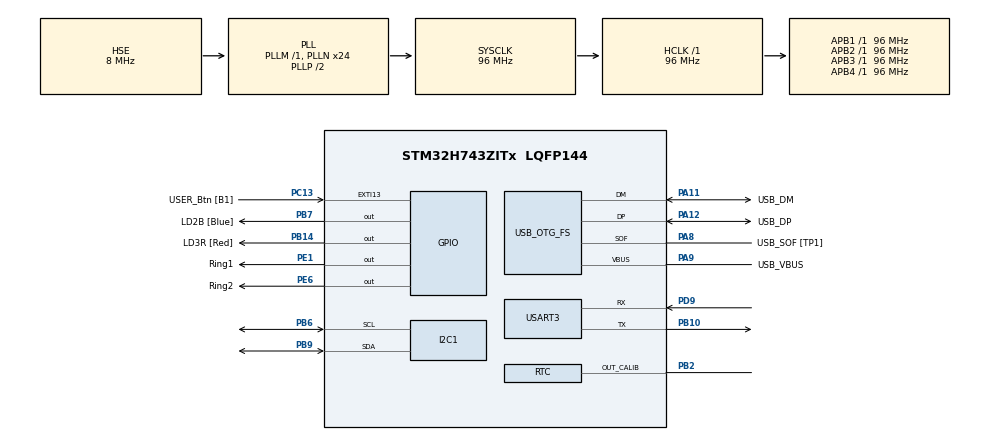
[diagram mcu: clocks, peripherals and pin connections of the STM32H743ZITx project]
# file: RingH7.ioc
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I2C1.Timing=0x10B0DCFB
Mcu.Family=STM32H7
Mcu.Name=STM32H743ZITx
Mcu.Package=LQFP144
NVIC.PriorityGroup=NVIC_PRIORITYGROUP_4
NVIC.USART3_IRQn=true\:0\:0\:false\:false\:true\:true\:true\:true
PA1.GPIO_Label=RMII_REF_CLK
PA1.Signal=ETH_REF_CLK
PA10.GPIO_Label=USB_ID
PA10.Signal=USB_OTG_FS_ID
PA11.GPIO_Label=USB_DM
PA11.Mode=Device_Only
PA11.Signal=USB_OTG_FS_DM
PA12.GPIO_Label=USB_DP
PA12.Mode=Device_Only
PA12.Signal=USB_OTG_FS_DP
PA2.GPIO_Label=RMII_MDIO
PA2.Signal=ETH_MDIO
PA7.GPIO_Label=RMII_CRS_DV
PA7.Signal=ETH_CRS_DV
PA8.GPIO_Label=USB_SOF [TP1]
PA8.Mode=Activate_SOF_FS
PA8.Signal=USB_OTG_FS_SOF
PA9.GPIO_Label=USB_VBUS
PA9.Mode=Activate_VBUS
PA9.Signal=USB_OTG_FS_VBUS
PB10.Mode=Asynchronous
PB10.Signal=USART3_TX
PB13.GPIO_Label=RMII_TXD1
PB13.Signal=ETH_TXD1
PB14.GPIO_Label=LD3R [Red]
PB14.Signal=GPIO_Output
PB2.Mode=Calibration_1Hz
PB2.Signal=RTC_OUT_CALIB
PB6.Mode=I2C
PB6.Signal=I2C1_SCL
PB7.GPIO_Label=LD2B [Blue]
PB7.Signal=GPIO_Output
PB9.Mode=I2C
PB9.Signal=I2C1_SDA
PC1.GPIO_Label=RMII_MDC
PC1.Signal=ETH_MDC
PC13.GPIO_Label=USER_Btn [B1]
PC13.Signal=GPXTI13
PC14-OSC32_IN\ (OSC32_IN).Mode=LSE-External-Oscillator
PC14-OSC32_IN\ (OSC32_IN).Signal=RCC_OSC32_IN
PC15-OSC32_OUT\ (OSC32_OUT).Mode=LSE-External-Oscillator
PC15-OSC32_OUT\ (OSC32_OUT).Signal=RCC_OSC32_OUT
PC4.GPIO_Label=RMII_RXD0
PC4.Signal=ETH_RXD0
PC5.GPIO_Label=RMII_RXD1
PC5.Signal=ETH_RXD1
PD9.GPIO_ModeDefaultPP=GPIO_MODE_AF_PP
PD9.GPIO_PuPd=GPIO_NOPULL
PD9.GPIO_Speed=GPIO_SPEED_FREQ_LOW
PD9.Mode=Asynchronous
PD9.Signal=USART3_RX
PE1.GPIO_Label=Ring1
PE1.GPIO_ModeDefaultOutputPP=GPIO_MODE_OUTPUT_PP
PE1.GPIO_PuPd=GPIO_NOPULL
PE1.PinState=GPIO_PIN_SET
PE1.Signal=GPIO_Output
PE6.GPIO_Label=Ring2
PE6.GPIO_ModeDefaultOutputPP=GPIO_MODE_OUTPUT_PP
PE6.GPIO_PuPd=GPIO_NOPULL
PE6.PinState=GPIO_PIN_SET
PE6.Signal=GPIO_Output
PG11.GPIO_Label=RMII_TX_EN
PG11.Signal=ETH_TX_EN
PG13.GPIO_Label=RMII_TXD0
PG13.Signal=ETH_TXD0
PH0-OSC_IN\ (PH0).GPIO_Label=MCO
PH0-OSC_IN\ (PH0).Mode=HSE-External-Clock-Source
PH0-OSC_IN\ (PH0).Signal=RCC_OSC_IN
PH1-OSC_OUT\ (PH1).Signal=RCC_OSC_OUT
ProjectManager.HeapSize=0x2000
ProjectManager.StackSize=0x4000
ProjectManager.TargetToolchain=MDK-ARM V5
RCC.48MHZClocksFreq_Value=24000000
RCC.ADCFreq_Value=16125000
RCC.AHBFreq_Value=216000000
RCC.APB1CLKDivider=RCC_HCLK_DIV4
RCC.APB1Freq_Value=96000000
RCC.APB1TimFreq_Value=108000000
RCC.APB2CLKDivider=RCC_HCLK_DIV2
RCC.APB2Freq_Value=96000000
RCC.APB2TimFreq_Value=216000000
RCC.APB3Freq_Value=96000000
RCC.APB4Freq_Value=96000000
RCC.CortexFreq_Value=96000000
RCC.DIVM1=1
RCC.DIVN1=24
RCC.DIVQ1=4
RCC.HCLKFreq_Value=96000000
RCC.HSE_VALUE=8000000
RCC.HSI_VALUE=64000000
RCC.PLLM=25
RCC.PLLMUL=RCC_PLL_MUL9
RCC.PLLN=432
RCC.PLLQ=9
RCC.PRESCALERUSB=RCC_USBCLKSOURCE_PLL_DIV1_5
RCC.PWR_Regulator_Voltage_Scale=PWR_REGULATOR_VOLTAGE_SCALE1
RCC.SYSCLKFreq_VALUE=96000000
RCC.SYSCLKSource=RCC_SYSCLKSOURCE_PLLCLK
RCC.SYSCLKSourceVirtual=RCC_SYSCLKSOURCE_PLLCLK
RCC.USBFreq_Value=48000000
RCC.VCOOutputFreq_Value=432000000
USART3.VirtualMode-Asynchronous=VM_ASYNC
USB_OTG_FS.VirtualMode=Device_Only
VP_RTC_VS_RTC_Activate.Mode=RTC_Enabled
VP_RTC_VS_RTC_Calendar.Mode=RTC_Calendar
board=NUCLEO-H743ZI

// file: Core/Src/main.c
/* USER CODE BEGIN Header */
/**
  ******************************************************************************
  * @file           : main.c
  * @brief          : Main program body
  ******************************************************************************
  * @attention
  *
  * Copyright (c) 2022 STMicroelectronics.
  * All rights reserved.
  *
  * This software is licensed under terms that can be found in the LICENSE file
  * in the root directory of this software component.
  * If no LICENSE file comes with this software, it is provided AS-IS.
  *
  ******************************************************************************
  */
/* USER CODE END Header */
#include "main.h"

/* USER CODE BEGIN Includes */

#include "stdlib.h"
#include "string.h"

#include "crc32.h"

#include "Ring_prot.h"

#include "rdefUART.h"

#include "Ring.h"

#include "Schedlib.h"

#ifdef USE_DS3231
   #include "ds3231_for_stm32_hal.h"
#endif

/* USER CODE END Includes */

I2C_HandleTypeDef hi2c1;

RTC_HandleTypeDef hrtc;

UART_HandleTypeDef huart3;

PCD_HandleTypeDef hpcd_USB_OTG_FS;

/* USER CODE BEGIN PV */

__IO ITStatus UartReady; // volatile enum { SET, RESET }

T_WorkState WorkMode;
T_IOState IOState;

T_RINGState RingState;

T_RingIO_Head RMessHead;  // recieve header
T_RingIO_Head KvHead;
T_RingIO_SchData cod_sched_info, kvcod_sched_info;
T_RingIO_BlockInfo RingBlockInfo, kvRingBlockInfo, kvEndBlockInfo;
T_RingIO_Status RingStatus, PCSyncTime, kvPCSyncTime;

uint8_t answer_index;

uint8_t* Schedule;
uint8_t buf_head;
uint8_t io_buf[IO_BLOCK_SIZE];

uint16_t block_size, number_block;
uint32_t block_crc32, get_crc32;

uint8_t busy_time;
uint32_t schedule_size, schedule_crc32;
uint32_t * schedule_addr;
uint32_t * schedule_size_addr;

uint8_t today_day;

uint8_t link_time;
RTC_TimeTypeDef NowTime;
RTC_DateTypeDef NowDate;
uint16_t NowYear;
RTC_TimeTypeDef PCTime;
RTC_DateTypeDef PCDate;

T_EventList  BaseEventList, TodayEventList;

/* USER CODE END PV */

void SystemClock_Config(void);
static void MX_GPIO_Init(void);
static void MX_USART3_UART_Init(void);
static void MX_USB_OTG_FS_PCD_Init(void);
static void MX_RTC_Init(void);
static void MX_I2C1_Init(void);

int main(void)
{
  /* USER CODE BEGIN 1 */

	HAL_StatusTypeDef io_result;

	uint16_t ui_flag = 0;
  uint8_t ui8_buf;
	uint32_t ui32_buf;

  /* USER CODE END 1 */

  /* MCU Configuration--------------------------------------------------------*/

  /* Reset of all peripherals, Initializes the Flash interface and the Systick. */
  HAL_Init();

  /* USER CODE BEGIN Init */

	UartReady = RESET;

	WorkMode = SETUP;
  IOState = IO_CHECK;

	SetIdleData(&KvHead, sizeof(KvHead));
	RingInitHead(&RMessHead,RING_IDLE_DATA);
	InitBlockInfo(&kvRingBlockInfo,0,0,0);
	InitExchSchedCom(&kvcod_sched_info, 0, 0);
	InitRingEndSched(&kvEndBlockInfo, 0, 0, 0);

	Schedule = NULL;
  schedule_size = 0;
	schedule_crc32 = CRC32((unsigned char*)&schedule_size, 4);

	schedule_addr = (uint32_t *)SCHEDULE_DATA_ADDR;
	schedule_size_addr = (uint32_t *)SCHEDULE_SIZE_ADDR;

	busy_time = 0;

	today_day = 0xFF; // more then 31

	RingState.el.RTC_EMB_State = RTC_NO;
	RingState.el.RTC_DS_State = RTC_NO;
	RingState.el.SchedFile = SCHED_NO;
	RingState.el.ready = RING_SETUP;

	EventList_init(&BaseEventList);
	EventList_init(&TodayEventList);

  /* USER CODE END Init */

  /* Configure the system clock */
  SystemClock_Config();

  /* Initialize all configured peripherals */
  MX_GPIO_Init();
  MX_USART3_UART_Init();
  MX_USB_OTG_FS_PCD_Init();
  MX_RTC_Init();
  MX_I2C1_Init();
  /* USER CODE BEGIN 2 */

#ifdef USE_DS3231
  DS3231_Init(&hi2c1);
#endif

  io_result = HAL_UART_Receive_IT(&huart3, (uint8_t *)&RMessHead, sizeof(RMessHead));

#ifdef MY_DEBUG
  if (io_result == HAL_OK)
	{
		HAL_GPIO_WritePin(GPIOB, LD2B_Pin, GPIO_PIN_SET); // UART OK
	}
	else
	{
		HAL_GPIO_WritePin(GPIOB, LD3R_Pin, GPIO_PIN_SET); // UART ???
	}

	HAL_Delay(1000);
	HAL_GPIO_WritePin(GPIOB, LD2B_Pin|LD3R_Pin, GPIO_PIN_RESET);
#endif

  /* USER CODE END 2 */

  /* Infinite loop */
  /* USER CODE BEGIN WHILE */
  while (1)
  {
#ifdef USE_DS3231
   if(WorkMode == AUTOWORK)
   {
		 if(RingState.el.RTC_DS_State == RTC_OK)
		 {
		 	 NowTime.Hours = DS3231_GetHour();
		   NowTime.Minutes = DS3231_GetMinute();
			 NowTime.Seconds = DS3231_GetSecond();
			 NowDate.Date = DS3231_GetDate();
			 NowDate.Month = DS3231_GetMonth();
			 NowYear = DS3231_GetYear();
			 NowDate.Year = NowYear % 100;
			 NowDate.WeekDay = DS3231_GetDayOfWeek();
	   }
	 }

#endif
		if(WorkMode != AUTOWORK)
		{
			HAL_RTC_GetDate(&hrtc, &NowDate, RTC_FORMAT_BIN);
			HAL_RTC_GetTime(&hrtc, &NowTime, RTC_FORMAT_BIN);
		}

		if(WorkMode == SETUP)
		{
			// define RTC	status
			if(RingState.el.RTC_EMB_State == RTC_NO) // start
			{
				if(NowDate.Year == 0) RingState.el.RTC_EMB_State = RTC_RESET;
								         else	RingState.el.RTC_EMB_State = RTC_OK;
			}

#ifdef USE_DS3231
				if(RingState.el.RTC_DS_State == RTC_NO)
				{
					io_result = HAL_I2C_Master_Transmit(&hi2c1, DS3231_I2C_ADDR << 1, 0, 1, 1000);
					io_result = HAL_I2C_Master_Receive(&hi2c1, DS3231_I2C_ADDR << 1, &ui8_buf, 1, 1000);

					if(io_result == HAL_OK)
					{
						if(DS3231_GetYear() == 2000) RingState.el.RTC_DS_State = RTC_RESET;
						                				else RingState.el.RTC_DS_State = RTC_OK;
				  }
				}
#endif

#ifdef USE_DS3231
			// sync with RTC DS3231
			if(  RingState.el.RTC_DS_State == RTC_OK
				 &&RingState.el.RTC_EMB_State == RTC_RESET	)
			{
				NowTime.Seconds = DS3231_GetSecond();
				ui8_buf = DS3231_GetSecond();
				while(ui8_buf == NowTime.Seconds)
				{
				  NowTime.Seconds = DS3231_GetSecond();
				}

				NowTime.Hours = DS3231_GetHour();
				NowTime.Minutes = DS3231_GetMinute();
				HAL_RTC_SetTime(&hrtc, &NowTime, RTC_FORMAT_BIN);

				NowDate.Date = DS3231_GetDate();
				NowDate.Month = DS3231_GetMonth();
				NowYear = DS3231_GetYear();
				NowDate.Year = NowYear % 100;
				NowDate.WeekDay = DS3231_GetDayOfWeek();
				HAL_RTC_SetDate(&hrtc, &NowDate, RTC_FORMAT_BIN);
				RingState.el.RTC_EMB_State = RTC_OK;
			}

			//sync RTC DS3231 with PC
			if(  RingState.el.RTC_DS_State == RTC_RESET
				 &&RingState.el.RTC_EMB_State == RTC_OK	)
			{
				HAL_RTC_GetDate(&hrtc, &NowDate, RTC_FORMAT_BIN);
				HAL_RTC_GetTime(&hrtc, &NowTime, RTC_FORMAT_BIN);
				ui8_buf = NowTime.Seconds;
				while(ui8_buf == NowTime.Seconds)
				{
					HAL_RTC_GetDate(&hrtc, &NowDate, RTC_FORMAT_BIN);
					HAL_RTC_GetTime(&hrtc, &NowTime, RTC_FORMAT_BIN);
				}

				DS3231_SetSecond(NowTime.Seconds);
				DS3231_SetMinute(NowTime.Minutes);
				DS3231_SetHour(NowTime.Hours);
				DS3231_SetDate(NowDate.Date);
				DS3231_SetMonth(NowDate.Month);
				NowYear = NowYear - (NowYear % 100) + NowDate.Year;
				DS3231_SetYear(NowYear);
				DS3231_SetDayOfWeek(NowDate.WeekDay);
				RingState.el.RTC_DS_State = RTC_OK;
			}
#endif

		  if(RingState.el.RTC_EMB_State == RTC_OK)
			{
				today_day = NowDate.Date; // for check of new day's begining
			}

			if(	RingState.el.SchedFile == SCHED_NO)
			{
				//try to find file on Flash
				HAL_FLASH_Unlock();

				// parse

				HAL_FLASH_Lock();
			}

			if(RingState.el.SchedFile == SCHED_RAM)
			{
				// parse
				ui32_buf = EventList_ReadMem((char*)Schedule, schedule_size, &BaseEventList);

				if(ui32_buf == EL_RES_OK)
				{

					ui32_buf = MakeTodaySchedule(&BaseEventList, s_Date* in_date,
					                             &TodayEventList, bool* out_holyday);

					RingState.el.SchedFile = SCHED_ON;
				}
				else
				{
					RingState.el.SchedFile = SCHED_ERR;
				}

				// save to Flash

			}

			// read parameters

			if(RingState.el.ready == RING_SETUP)
			{
				if(   RingState.el.RTC_EMB_State == RTC_OK
					 && RingState.el.SchedFile == SCHED_ON
					)
				{
					WorkMode = AUTOWORK;

					RingState.el.ready = RING_READY;   // setup done
				}
			}

			IOState = IO_CHECK;
		}	// SETUP
//====================================================

		if(WorkMode == AUTOWORK)
		{
#ifdef MY_DEBUG
//		HAL_GPIO_WritePin(GPIOB, LD2B_Pin, GPIO_PIN_SET);
//		HAL_GPIO_WritePin(GPIOB, LD3R_Pin, GPIO_PIN_RESET);
#endif

			if(today_day != NowDate.Date || RingState.el.ready != RING_READY)
			{
				WorkMode = SETUP;  // check out for new day's begining or setup wasn't finished
			}
			else
			{

			// check events

			}

	  }
//================================================================

		if(IOState == IO_CHECK) //only in free state - not in GET_DATA_BLOCK
		{
#ifdef MY_DEBUG
 // 	HAL_GPIO_WritePin(GPIOB, LD3R_Pin, GPIO_PIN_SET);
#endif
			if(UartReady == SET)
			{
#ifdef MY_DEBUG
		HAL_GPIO_WritePin(GPIOB, LD2B_Pin, GPIO_PIN_SET);
#endif

				if(RMessHead.name == RING_PROT_NAME)
			  {
	  			WorkMode = REM_CONTROL;
	  			IOState = GET_COMMAND;

					link_time = NowTime.Seconds + NowTime.Minutes * 100;
  			}
  			else
  			{
  				memcpy(&KvHead, &RMessHead, sizeof(KvHead));

  				// get trash
  				HAL_UART_Transmit_IT(&huart3, (uint8_t *)&KvHead, sizeof(KvHead)); // send it back
  				while(io_result != HAL_TIMEOUT)
  				{
  					io_result = HAL_UART_Receive(&huart3, &busy_time, 1, 1);
  					HAL_UART_Transmit_IT(&huart3, &busy_time, 1); // send it back
  				}

  				UartReady = RESET;
  				memset(&RMessHead,0,sizeof(RMessHead));
  				io_result = HAL_UART_Receive_IT(&huart3, (uint8_t *)&RMessHead, sizeof(RMessHead)); // set waiting new data
  			}
			}
		}//IO_CHECK
//=================================================================

		if(WorkMode == REM_CONTROL)
		{
			// check timeout for remote control mode
			if(   IOState == IO_CHECK
				 && RingState.el.ready == RING_READY
				)
			{
				// check out no link for period 1,5 minute
				busy_time = NowTime.Seconds + NowTime.Minutes * 100;
				if(busy_time > link_time)
				{
					if((busy_time - link_time) >= REMOTE_CONTROL_TIMEOUT) WorkMode = AUTOWORK;
				}
				else
				if(busy_time < link_time)
				{
					if((busy_time + 6000 - link_time) >= REMOTE_CONTROL_TIMEOUT) WorkMode = AUTOWORK;
				}

			}

			if(IOState == GET_COMMAND)
			{
#ifdef MY_DEBUG
		HAL_GPIO_WritePin(GPIOB, LD3R_Pin, GPIO_PIN_SET);
#endif
				switch (RMessHead.index)
				{
					case RING_GET_STATE:
					{
						InitRingState(&RingStatus, RingState.all, NowTime.Hours, NowTime.Minutes, NowTime.Seconds);
						answer_index = RING_GET_STATE;
						IOState = ANSWER;
						break;
					}

					case RING_SET_AUTOWORK:
					{
						WorkMode = AUTOWORK;

						RingInitHead(&KvHead, RING_SET_AUTOWORK);
						answer_index = RMessHead.index;
						IOState = ANSWER;
						break;
					}
					case RING_SET_RING: // on rele 1
					{
						HAL_GPIO_WritePin(GPIOE, Ring1_Pin, GPIO_PIN_RESET);
#ifdef MY_DEBUG
//	HAL_GPIO_WritePin(GPIOB, LD2B_Pin, GPIO_PIN_SET);
//	HAL_Delay(1000);
#endif

						RingInitHead(&KvHead, RING_SET_RING);
						answer_index = RMessHead.index;
						IOState = ANSWER;
						break;
					}
					case RING_RESET_RING: // off rele 1
					{
						HAL_GPIO_WritePin(GPIOE, Ring1_Pin, GPIO_PIN_SET);
#ifdef MY_DEBUG
//	HAL_GPIO_WritePin(GPIOB, LD2B_Pin, GPIO_PIN_RESET);
#endif

						RingInitHead(&KvHead, RING_RESET_RING);
						answer_index = RMessHead.index;
						IOState = ANSWER;
						break;
					}
					case RING_SET_BOOST: // on rele 2
				  {
						HAL_GPIO_WritePin(GPIOE, Ring2_Pin, GPIO_PIN_RESET);
#ifdef MY_DEBUG
//	HAL_GPIO_WritePin(GPIOB, LD3R_Pin, GPIO_PIN_SET);
//	HAL_Delay(1000);
#endif
						RingInitHead(&KvHead, RING_SET_BOOST);
						answer_index = RING_SET_BOOST;
						IOState = ANSWER;
						break;
					}
					case RING_RESET_BOOST: // off rele 2
					{
						HAL_GPIO_WritePin(GPIOE, Ring2_Pin, GPIO_PIN_SET);
#ifdef MY_DEBUG
//	HAL_GPIO_WritePin(GPIOB, LD3R_Pin, GPIO_PIN_RESET);
#endif

						RingInitHead(&KvHead, RING_RESET_BOOST);
						answer_index = RING_RESET_BOOST;
						IOState = ANSWER;
						break;
					}
					case RING_GET_SCHEDULE:
					{
						io_result = HAL_UART_Receive(&huart3, (uint8_t*)&cod_sched_info.data, sizeof(cod_sched_info.data), 0xFFF);

						if(io_result == HAL_OK)
						{
							/// save schedule file crc32
							schedule_crc32 = cod_sched_info.data.crc32;

							// save schedule file size
							schedule_size = cod_sched_info.data.size;

							if(Schedule != NULL) free(Schedule);
							if( (Schedule = malloc(schedule_size)) == NULL ) SetRingError(&kvcod_sched_info.head);

							kvcod_sched_info.head.index = RING_GET_SCHEDULE;
							kvcod_sched_info.data = cod_sched_info.data;
						}
						else
						{
							SetRingError(&kvcod_sched_info.head);
						}

						answer_index = RING_GET_SCHEDULE;
						IOState = ANSWER;

						break;
					}
					case RING_GET_BLOCK:  // Get Schedule by blocks
					{
						io_result = HAL_UART_Receive(&huart3, (uint8_t*)&RingBlockInfo.data, sizeof(RingBlockInfo.data), 0xFFF);

						if(io_result == HAL_OK)
						{
							number_block = RingBlockInfo.data.number;
							block_size = RingBlockInfo.data.size;
							block_crc32 = RingBlockInfo.data.crc32;

							kvRingBlockInfo.head.index = RING_GET_BLOCK;
							kvRingBlockInfo.data = RingBlockInfo.data;
						}
						else
						{
		  		    SetRingError(&kvRingBlockInfo.head);
							block_size = 0;
						}

						answer_index = RING_GET_BLOCK;
						IOState = ANSWER;

						break;
					}

					case RING_END_BLOCK:  // end transmit Schedule by blocks
					{
						io_result = HAL_UART_Receive(&huart3, (uint8_t*)&RingBlockInfo.data, sizeof(RingBlockInfo.data), 0xFFF);

#ifdef MY_DEBUG
//    HAL_GPIO_WritePin(GPIOE, Ring1_Pin, GPIO_PIN_RESET);
#endif
						if(io_result == HAL_OK)
						{
							get_crc32 = CRC32(Schedule, schedule_size);

							kvEndBlockInfo.head.index = RING_END_BLOCK;
							kvEndBlockInfo.data.size = schedule_size;
							kvEndBlockInfo.data.crc32 = get_crc32;

#ifdef MY_DEBUG
 //   HAL_GPIO_WritePin(GPIOE, Ring2_Pin, GPIO_PIN_RESET);
#endif

							if(get_crc32 == schedule_crc32)
							{
								RingState.el.SchedFile = SCHED_RAM;
								WorkMode = SETUP; // go to parse
							}
						}
						else
						{
						  SetRingError(&kvEndBlockInfo.head);
						}

						answer_index = RING_END_BLOCK;
						IOState = ANSWER;

						break;
					}
					case RING_ON_TRANSFER:
					{
						InitRingTransfer(&RingStatus, 0xA, 0xB, 0xC, 0xD);
						WorkMode = TRANSIT_DATA;

						busy_time = NowTime.Seconds;

						answer_index = RING_ON_TRANSFER;
						IOState = ANSWER;
						break;
					}
					case RING_SYNC_TIME:
					{
						io_result = HAL_UART_Receive(&huart3, (uint8_t*)&PCSyncTime.data, sizeof(PCSyncTime.data), 0xFFF);

#ifdef MY_DEBUG
//	  HAL_GPIO_WritePin(GPIOB, LD3R_Pin, GPIO_PIN_SET);
#endif
						if(io_result == HAL_OK)
						{
							if(PCSyncTime.data.data1 == 0) // sync seconds
							{
								PCTime.Seconds	= PCSyncTime.data.data4;
								InitRingSyncTime(&kvPCSyncTime, 0, 0, 0, PCTime.Seconds);
							}
							else
							if(PCSyncTime.data.data1 == 1) // sync time
							{
								PCTime.Hours = PCSyncTime.data.data2;
								PCTime.Minutes = PCSyncTime.data.data3;
								PCDate.WeekDay = PCSyncTime.data.data4;

								HAL_RTC_SetTime(&hrtc, &PCTime, RTC_FORMAT_BIN);

								InitRingSyncTime(&kvPCSyncTime, PCTime.Hours, PCTime.Minutes, PCTime.Seconds, PCDate.WeekDay);
						  }
							else
							if(PCSyncTime.data.data1 == 2) // sync date
							{
								NowYear = PCSyncTime.data.data2;
								PCDate.Year = NowYear % 100;
								PCDate.Month = PCSyncTime.data.data3;
								PCDate.Date = PCSyncTime.data.data4;

								HAL_RTC_SetDate(&hrtc, &PCDate, RTC_FORMAT_BIN);

								InitRingSyncTime(&kvPCSyncTime, PCDate.Year, PCDate.Month, PCDate.Date, PCDate.WeekDay);

								RingState.el.RTC_EMB_State = RTC_OK;
								if(RingState.el.RTC_DS_State == RTC_OK) RingState.el.RTC_DS_State = RTC_RESET;

								WorkMode = SETUP;
							}

						answer_index = RING_SYNC_TIME;
						IOState = ANSWER;

						}
						else
						{
		  		    SetRingError(&kvPCSyncTime.head);
							answer_index = RING_SYNC_TIME;
							IOState = ANSWER;
						}

						break;
					}

				}//switch
			}//IOState Command mode
//======================================================================

		  if(IOState == ANSWER)
			{
				switch (answer_index)
				{
					case RING_SET_AUTOWORK:
					case RING_SET_RING:
					case RING_RESET_RING:
					case RING_SET_BOOST:
					case RING_RESET_BOOST:
					{
						HAL_UART_Transmit_IT(&huart3, (uint8_t *)&KvHead, sizeof(KvHead)); // send it back
						break;
					}
					case RING_GET_SCHEDULE:
					{
						HAL_UART_Transmit_IT(&huart3, (uint8_t *)&kvcod_sched_info, sizeof(kvcod_sched_info)); // send it back
						break;
					}
					case RING_GET_BLOCK:
					{
						HAL_UART_Transmit_IT(&huart3, (uint8_t *)&kvRingBlockInfo, sizeof(kvRingBlockInfo)); // send it back

						if(block_size > 0)
						{
							IOState = GET_DATA_BLOCK;

							UartReady = RESET;
							io_result = HAL_UART_Receive_IT(&huart3, &buf_head, 1); // set waiting new data
						}

						break;
					}
					case RING_KV_BLOCK:
					{
						HAL_UART_Transmit_IT(&huart3, (uint8_t *)&kvRingBlockInfo, sizeof(kvRingBlockInfo)); // send it back
						break;
					}
					case RING_END_BLOCK:
					{
						HAL_UART_Transmit_IT(&huart3, (uint8_t *)&kvEndBlockInfo, sizeof(kvEndBlockInfo)); // send it back
						break;
					}
					case RING_ON_TRANSFER:
					case RING_GET_STATE:
					{
						HAL_UART_Transmit_IT(&huart3, (uint8_t *)&RingStatus, sizeof(RingStatus)); // send it back
						break;
					}
					case RING_SYNC_TIME:
					{
						HAL_UART_Transmit_IT(&huart3, (uint8_t *)&kvPCSyncTime, sizeof(kvPCSyncTime)); // send it back
						break;
					}
				}// switch

				if(IOState == ANSWER)
				{
#ifdef MY_DEBUG
	  HAL_GPIO_WritePin(GPIOB, LD2B_Pin|LD3R_Pin, GPIO_PIN_RESET);
#endif
					UartReady = RESET;
					memset(&RMessHead,0,sizeof(RMessHead));
					io_result = HAL_UART_Receive_IT(&huart3, (uint8_t *)&RMessHead, sizeof(RMessHead)); // set waiting new data

					IOState = IO_CHECK;
					answer_index = RING_IDLE_DATA;
				}
			}// ANSWER
//=======================================================================

		  if(IOState == GET_DATA_BLOCK)
			{
				// checkout control line
				if(UartReady == SET) // we got something from UART
				{
					io_result = HAL_UART_Receive(&huart3, &io_buf[1], block_size-1, 0xFFF);

					if(io_result == HAL_OK)
					{
						io_buf[0] = buf_head;

						get_crc32 = CRC32((unsigned char*)&io_buf, block_size);

						InitBlockInfo(&kvRingBlockInfo, number_block, block_size, get_crc32);

						if(get_crc32 == block_crc32)
						{
							if(   ((IO_BLOCK_SIZE*(number_block-1)) <= schedule_size)
								 && (number_block > 0)
								)
							{
								memcpy((Schedule + (IO_BLOCK_SIZE*(number_block-1))), io_buf, block_size);
							}
						}
						else
						{
							SetRingError(&kvRingBlockInfo.head);
						}
					}
					else
					{
						InitBlockInfo(&kvRingBlockInfo,number_block , 0, 0);
						SetRingError(&kvRingBlockInfo.head);
					}

					answer_index = RING_KV_BLOCK;
					IOState = ANSWER;

				}// if got UART
			}//GET_DATA_BLOCK

	  }// WorkMode = REM_CONTROL
//======================================================================

		if(WorkMode == TRANSIT_DATA)
		{
			if(busy_time != NowTime.Seconds)
			{

				if(ui_flag == 0)
				{
				  InitRingTransfer(&RingStatus, 0xA, NowTime.Hours, NowTime.Minutes, NowTime.Seconds);
					ui_flag = 1;
				}
				else
				{
#ifdef USE_DS3231
					InitRingTransfer(&RingStatus, 0xB, DS3231_GetHour(), DS3231_GetMinute(), DS3231_GetSecond());
#else
					InitRingTransfer(&RingStatus, 0xA, NowTime.Hours, NowTime.Minutes, NowTime.Seconds);
#endif
					ui_flag = 0;
				}

				HAL_UART_Transmit_IT(&huart3, (uint8_t *)&RingStatus, sizeof(RingStatus)); // send it back

				busy_time = NowTime.Seconds;
			}

		}// TRANSIT_DATA
//======================================================================

    /* USER CODE END WHILE */

    /* USER CODE BEGIN 3 */
#ifdef MY_DEBUG
//		HAL_Delay(1000);
//	  HAL_GPIO_WritePin(GPIOB, LD2B_Pin|LD3R_Pin, GPIO_PIN_RESET);
//		HAL_Delay(200);
//	  HAL_GPIO_WritePin(GPIOB, LD2B_Pin, GPIO_PIN_RESET);
#endif
  }
  /* USER CODE END 3 */
}

void SystemClock_Config(void)
{
  RCC_OscInitTypeDef RCC_OscInitStruct = {0};
  RCC_ClkInitTypeDef RCC_ClkInitStruct = {0};

  /** Supply configuration update enable
  */
  HAL_PWREx_ConfigSupply(PWR_LDO_SUPPLY);

  /** Configure the main internal regulator output voltage
  */
  __HAL_PWR_VOLTAGESCALING_CONFIG(PWR_REGULATOR_VOLTAGE_SCALE1);

  while(!__HAL_PWR_GET_FLAG(PWR_FLAG_VOSRDY)) {}

  /** Initializes the RCC Oscillators according to the specified parameters
  * in the RCC_OscInitTypeDef structure.
  */
  RCC_OscInitStruct.OscillatorType = RCC_OSCILLATORTYPE_LSI|RCC_OSCILLATORTYPE_HSE;
  RCC_OscInitStruct.HSEState = RCC_HSE_BYPASS;
  RCC_OscInitStruct.LSIState = RCC_LSI_ON;
  RCC_OscInitStruct.PLL.PLLState = RCC_PLL_ON;
  RCC_OscInitStruct.PLL.PLLSource = RCC_PLLSOURCE_HSE;
  RCC_OscInitStruct.PLL.PLLM = 1;
  RCC_OscInitStruct.PLL.PLLN = 24;
  RCC_OscInitStruct.PLL.PLLP = 2;
  RCC_OscInitStruct.PLL.PLLQ = 4;
  RCC_OscInitStruct.PLL.PLLR = 2;
  RCC_OscInitStruct.PLL.PLLRGE = RCC_PLL1VCIRANGE_3;
  RCC_OscInitStruct.PLL.PLLVCOSEL = RCC_PLL1VCOWIDE;
  RCC_OscInitStruct.PLL.PLLFRACN = 0;
  if (HAL_RCC_OscConfig(&RCC_OscInitStruct) != HAL_OK)
  {
    Error_Handler();
  }

  /** Initializes the CPU, AHB and APB buses clocks
  */
  RCC_ClkInitStruct.ClockType = RCC_CLOCKTYPE_HCLK|RCC_CLOCKTYPE_SYSCLK
                              |RCC_CLOCKTYPE_PCLK1|RCC_CLOCKTYPE_PCLK2
                              |RCC_CLOCKTYPE_D3PCLK1|RCC_CLOCKTYPE_D1PCLK1;
  RCC_ClkInitStruct.SYSCLKSource = RCC_SYSCLKSOURCE_PLLCLK;
  RCC_ClkInitStruct.SYSCLKDivider = RCC_SYSCLK_DIV1;
  RCC_ClkInitStruct.AHBCLKDivider = RCC_HCLK_DIV1;
  RCC_ClkInitStruct.APB3CLKDivider = RCC_APB3_DIV1;
  RCC_ClkInitStruct.APB1CLKDivider = RCC_APB1_DIV1;
  RCC_ClkInitStruct.APB2CLKDivider = RCC_APB2_DIV1;
  RCC_ClkInitStruct.APB4CLKDivider = RCC_APB4_DIV1;

  if (HAL_RCC_ClockConfig(&RCC_ClkInitStruct, FLASH_LATENCY_1) != HAL_OK)
  {
    Error_Handler();
  }
}

static void MX_I2C1_Init(void)
{

  hi2c1.Instance = I2C1;
  hi2c1.Init.Timing = 0x10B0DCFB;
  hi2c1.Init.OwnAddress1 = 0;
  hi2c1.Init.AddressingMode = I2C_ADDRESSINGMODE_7BIT;
  hi2c1.Init.DualAddressMode = I2C_DUALADDRESS_DISABLE;
  hi2c1.Init.OwnAddress2 = 0;
  hi2c1.Init.OwnAddress2Masks = I2C_OA2_NOMASK;
  hi2c1.Init.GeneralCallMode = I2C_GENERALCALL_DISABLE;
  hi2c1.Init.NoStretchMode = I2C_NOSTRETCH_DISABLE;
  if (HAL_I2C_Init(&hi2c1) != HAL_OK)
  {
    Error_Handler();
  }

  /** Configure Analogue filter
  */
  if (HAL_I2CEx_ConfigAnalogFilter(&hi2c1, I2C_ANALOGFILTER_ENABLE) != HAL_OK)
  {
    Error_Handler();
  }

  /** Configure Digital filter
  */
  if (HAL_I2CEx_ConfigDigitalFilter(&hi2c1, 0) != HAL_OK)
  {
    Error_Handler();
  }

}

static void MX_RTC_Init(void)
{

  RTC_TimeTypeDef sTime = {0};
  RTC_DateTypeDef sDate = {0};

  /** Initialize RTC Only
  */
  hrtc.Instance = RTC;
  hrtc.Init.HourFormat = RTC_HOURFORMAT_24;
  hrtc.Init.AsynchPrediv = 127;
  hrtc.Init.SynchPrediv = 255;
  hrtc.Init.OutPut = RTC_OUTPUT_DISABLE;
  hrtc.Init.OutPutPolarity = RTC_OUTPUT_POLARITY_HIGH;
  hrtc.Init.OutPutType = RTC_OUTPUT_TYPE_OPENDRAIN;
  hrtc.Init.OutPutRemap = RTC_OUTPUT_REMAP_POS1;
  if (HAL_RTC_Init(&hrtc) != HAL_OK)
  {
    Error_Handler();
  }

  /** Initialize RTC and set the Time and Date
  */
  sTime.Hours = 0x0;
  sTime.Minutes = 0x0;
  sTime.Seconds = 0x0;
  sTime.DayLightSaving = RTC_DAYLIGHTSAVING_NONE;
  sTime.StoreOperation = RTC_STOREOPERATION_RESET;
  if (HAL_RTC_SetTime(&hrtc, &sTime, RTC_FORMAT_BCD) != HAL_OK)
  {
    Error_Handler();
  }
  sDate.WeekDay = RTC_WEEKDAY_MONDAY;
  sDate.Month = RTC_MONTH_JANUARY;
  sDate.Date = 0x1;
  sDate.Year = 0x0;

  if (HAL_RTC_SetDate(&hrtc, &sDate, RTC_FORMAT_BCD) != HAL_OK)
  {
    Error_Handler();
  }

  /** Enable Calibrartion
  */
  if (HAL_RTCEx_SetCalibrationOutPut(&hrtc, RTC_CALIBOUTPUT_1HZ) != HAL_OK)
  {
    Error_Handler();
  }

}

static void MX_USART3_UART_Init(void)
{

  huart3.Instance = USART3;
  huart3.Init.BaudRate = 115200;
  huart3.Init.WordLength = UART_WORDLENGTH_8B;
  huart3.Init.StopBits = UART_STOPBITS_1;
  huart3.Init.Parity = UART_PARITY_NONE;
  huart3.Init.Mode = UART_MODE_TX_RX;
  huart3.Init.HwFlowCtl = UART_HWCONTROL_NONE;
  huart3.Init.OverSampling = UART_OVERSAMPLING_16;
  huart3.Init.OneBitSampling = UART_ONE_BIT_SAMPLE_DISABLE;
  huart3.Init.ClockPrescaler = UART_PRESCALER_DIV1;
  huart3.AdvancedInit.AdvFeatureInit = UART_ADVFEATURE_NO_INIT;
  if (HAL_UART_Init(&huart3) != HAL_OK)
  {
    Error_Handler();
  }
  if (HAL_UARTEx_SetTxFifoThreshold(&huart3, UART_TXFIFO_THRESHOLD_1_8) != HAL_OK)
  {
    Error_Handler();
  }
  if (HAL_UARTEx_SetRxFifoThreshold(&huart3, UART_RXFIFO_THRESHOLD_1_8) != HAL_OK)
  {
    Error_Handler();
  }
  if (HAL_UARTEx_DisableFifoMode(&huart3) != HAL_OK)
  {
    Error_Handler();
  }

}

static void MX_USB_OTG_FS_PCD_Init(void)
{

  hpcd_USB_OTG_FS.Instance = USB_OTG_FS;
  hpcd_USB_OTG_FS.Init.dev_endpoints = 9;
  hpcd_USB_OTG_FS.Init.speed = PCD_SPEED_FULL;
  hpcd_USB_OTG_FS.Init.dma_enable = DISABLE;
  hpcd_USB_OTG_FS.Init.phy_itface = PCD_PHY_EMBEDDED;
  hpcd_USB_OTG_FS.Init.Sof_enable = ENABLE;
  hpcd_USB_OTG_FS.Init.low_power_enable = DISABLE;
  hpcd_USB_OTG_FS.Init.lpm_enable = DISABLE;
  hpcd_USB_OTG_FS.Init.battery_charging_enable = ENABLE;
  hpcd_USB_OTG_FS.Init.vbus_sensing_enable = ENABLE;
  hpcd_USB_OTG_FS.Init.use_dedicated_ep1 = DISABLE;
  if (HAL_PCD_Init(&hpcd_USB_OTG_FS) != HAL_OK)
  {
    Error_Handler();
  }

}

static void MX_GPIO_Init(void)
{
  GPIO_InitTypeDef GPIO_InitStruct = {0};

  /* GPIO Ports Clock Enable */
  __HAL_RCC_GPIOE_CLK_ENABLE();
  __HAL_RCC_GPIOC_CLK_ENABLE();
  __HAL_RCC_GPIOH_CLK_ENABLE();
  __HAL_RCC_GPIOA_CLK_ENABLE();
  __HAL_RCC_GPIOB_CLK_ENABLE();
  __HAL_RCC_GPIOD_CLK_ENABLE();
  __HAL_RCC_GPIOG_CLK_ENABLE();

  /*Configure GPIO pin Output Level */
  HAL_GPIO_WritePin(GPIOE, Ring2_Pin|Ring1_Pin, GPIO_PIN_SET);

  /*Configure GPIO pin Output Level */
  HAL_GPIO_WritePin(GPIOB, LD3R_Pin|LD2B_Pin, GPIO_PIN_RESET);

  /*Configure GPIO pins : Ring2_Pin Ring1_Pin */
  GPIO_InitStruct.Pin = Ring2_Pin|Ring1_Pin;
  GPIO_InitStruct.Mode = GPIO_MODE_OUTPUT_PP;
  GPIO_InitStruct.Pull = GPIO_NOPULL;
  GPIO_InitStruct.Speed = GPIO_SPEED_FREQ_LOW;
  HAL_GPIO_Init(GPIOE, &GPIO_InitStruct);

  /*Configure GPIO pin : USER_Btn_Pin */
  GPIO_InitStruct.Pin = USER_Btn_Pin;
  GPIO_InitStruct.Mode = GPIO_MODE_IT_RISING;
  GPIO_InitStruct.Pull = GPIO_NOPULL;
  HAL_GPIO_Init(USER_Btn_GPIO_Port, &GPIO_InitStruct);

  /*Configure GPIO pins : RMII_MDC_Pin RMII_RXD0_Pin RMII_RXD1_Pin */
  GPIO_InitStruct.Pin = RMII_MDC_Pin|RMII_RXD0_Pin|RMII_RXD1_Pin;
  GPIO_InitStruct.Mode = GPIO_MODE_AF_PP;
  GPIO_InitStruct.Pull = GPIO_NOPULL;
  GPIO_InitStruct.Speed = GPIO_SPEED_FREQ_LOW;
  GPIO_InitStruct.Alternate = GPIO_AF11_ETH;
  HAL_GPIO_Init(GPIOC, &GPIO_InitStruct);

  /*Configure GPIO pins : RMII_REF_CLK_Pin RMII_MDIO_Pin RMII_CRS_DV_Pin */
  GPIO_InitStruct.Pin = RMII_REF_CLK_Pin|RMII_MDIO_Pin|RMII_CRS_DV_Pin;
  GPIO_InitStruct.Mode = GPIO_MODE_AF_PP;
  GPIO_InitStruct.Pull = GPIO_NOPULL;
  GPIO_InitStruct.Speed = GPIO_SPEED_FREQ_LOW;
  GPIO_InitStruct.Alternate = GPIO_AF11_ETH;
  HAL_GPIO_Init(GPIOA, &GPIO_InitStruct);

  /*Configure GPIO pin : RMII_TXD1_Pin */
  GPIO_InitStruct.Pin = RMII_TXD1_Pin;
  GPIO_InitStruct.Mode = GPIO_MODE_AF_PP;
  GPIO_InitStruct.Pull = GPIO_NOPULL;
  GPIO_InitStruct.Speed = GPIO_SPEED_FREQ_LOW;
  GPIO_InitStruct.Alternate = GPIO_AF11_ETH;
  HAL_GPIO_Init(RMII_TXD1_GPIO_Port, &GPIO_InitStruct);

  /*Configure GPIO pins : LD3R_Pin LD2B_Pin */
  GPIO_InitStruct.Pin = LD3R_Pin|LD2B_Pin;
  GPIO_InitStruct.Mode = GPIO_MODE_OUTPUT_PP;
  GPIO_InitStruct.Pull = GPIO_NOPULL;
  GPIO_InitStruct.Speed = GPIO_SPEED_FREQ_LOW;
  HAL_GPIO_Init(GPIOB, &GPIO_InitStruct);

  /*Configure GPIO pins : RMII_TX_EN_Pin RMII_TXD0_Pin */
  GPIO_InitStruct.Pin = RMII_TX_EN_Pin|RMII_TXD0_Pin;
  GPIO_InitStruct.Mode = GPIO_MODE_AF_PP;
  GPIO_InitStruct.Pull = GPIO_NOPULL;
  GPIO_InitStruct.Speed = GPIO_SPEED_FREQ_LOW;
  GPIO_InitStruct.Alternate = GPIO_AF11_ETH;
  HAL_GPIO_Init(GPIOG, &GPIO_InitStruct);

}

void Error_Handler(void)
{
  /* USER CODE BEGIN Error_Handler_Debug */
  /* User can add his own implementation to report the HAL error return state */
  __disable_irq();

	int SigTime = 0xE;

	while(SigTime)
  {
   HAL_GPIO_TogglePin(GPIOB, LD3R_Pin);
   HAL_Delay(200);

	 --SigTime;
	}
	HAL_GPIO_WritePin(GPIOB, LD3R_Pin, GPIO_PIN_RESET);
  /* USER CODE END Error_Handler_Debug */
}
